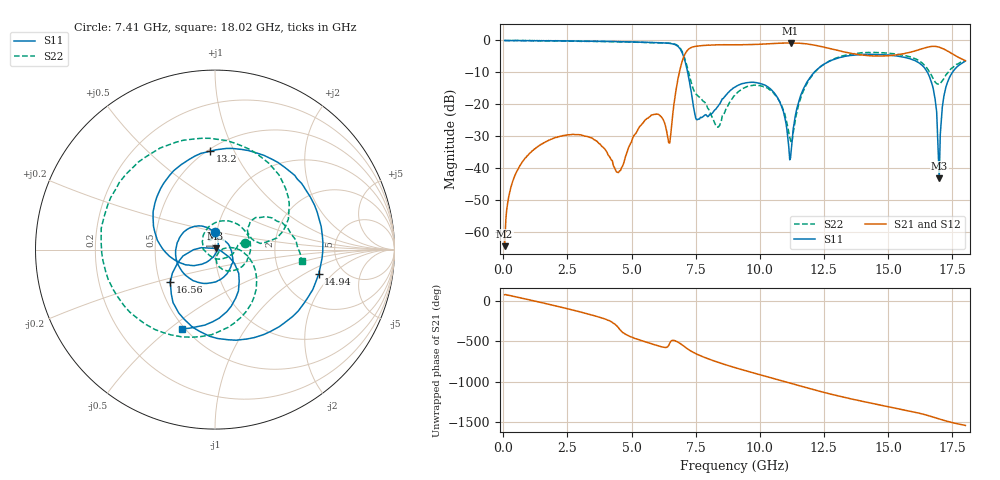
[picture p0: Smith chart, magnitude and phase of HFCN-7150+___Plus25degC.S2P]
! Mini-Circuits
! S2P DATA File Format
! Type: High Pass LTCC Surface Mount Filter
! Model: HFCN-7150+
! Note: All S Parameters are in dB deg format
! TEST CONDITIONS: INPUT POWER = 0dBm @Temperature = +25degC
! 401 Frequency points
# MHz S DB R 50
!  FREQ  dB(S11)  PHS(S11)  dB(S21)  PHS(S21)  dB(S12)  PHS(S12)  dB(S22)  PHS(S22)
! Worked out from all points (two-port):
!   401 points, 50 MHz to 18.02 GHz, reference 50 ohm
!   highest |S21| = -0.78 dB at 11.2 GHz (marker M1); lowest = -64.3 dB at 50 MHz (marker M2)
!   |S21| within 3 dB of the highest: 7.119 GHz to 13.42 GHz (6.298 GHz wide, 61.3 % of centre); 15.81 GHz to 17.43 GHz (1.613 GHz wide, 9.7 % of centre)
!   lowest |S11| = -43.1 dB at 17 GHz (marker M3), VSWR 1.01, Z = 50.3 + j0.645 ohm
!   |S11| at or under -10 dB: 7.19 GHz to 12.12 GHz (4.926 GHz wide, 51 % of centre); 16.54 GHz to 17.51 GHz (970.2 MHz wide, 5.7 % of centre)
!   |S22| runs from -32.0 to 0.0 dB; largest |S21 - S12| = 0.017
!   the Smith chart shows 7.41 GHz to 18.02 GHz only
!   S11 on the Smith chart (normalised r, x): 7.41 GHz: 0.98, +0.19; 13.2 GHz: 0.52, +0.81; 14.94 GHz: 3.28, -1.38; 16.56 GHz: 0.57, -0.23; 18.02 GHz: 0.48, -0.55
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50  -0.01 -3.0  -64.28 82.1  -60.82 88.8  -0.03 -3.8
410  -0.06 -25.8  -43.06 60.9  -43.06 61.1  -0.05 -31.6
1330  -0.10 -84.9  -33.25 -4.8  -33.21 -4.5  -0.05 -103.5
2210  -0.10 -142.7  -29.94 -69.8  -30.05 -70.3  -0.22 -174.3
3050  -0.20 160.2  -29.56 -136.8  -29.62 -137.0  -0.29 115.4
4410  -0.34 64.2  -41.03 59.1  -41.03 59.4  -0.39 -4.6
5250  -0.51 0.5  -27.83 -113.6  -27.82 -113.1  -0.57 -84.2
6050  -0.69 -69.3  -23.08 164.1  -23.11 164.8  -0.75 -166.8
6490  -0.92 -119.0  -32.02 -161.4  -32.00 -160.9  -0.88 139.5
6770  -1.63 -163.1  -13.81 -141.3  -13.81 -140.9  -1.45 95.9
7410  -20.38 90.6  -1.98 83.8  -2.00 83.8  -15.23 11.6
8090  -23.24 54.6  -1.44 -8.2  -1.48 -8.2  -23.00 -42.4
9070  -14.41 -100.5  -1.34 -109.4  -1.35 -109.5  -16.78 93.0
10050  -13.57 165.6  -1.16 161.8  -1.18 161.9  -14.24 -6.6
11200  -36.70 -38.7  -0.78 59.8  -0.83 59.7  -31.29 -49.6
12040  -10.72 179.4  -1.31 -15.2  -1.33 -15.8  -10.97 -34.8
13200  -5.22 92.9  -3.41 -109.1  -3.31 -109.7  -4.90 -133.2
14940  -4.54 -13.3  -4.78 132.5  -4.86 133.5  -3.92 110.2
15080  -4.60 -22.2  -4.72 123.3  -4.79 124.2  -4.04 101.3
16560  -10.22 -144.1  -2.07 17.7  -2.23 17.9  -9.09 10.7
17000  -43.10 66.4  -2.11 -25.7  -2.17 -26.0  -13.74 27.1
18020  -6.41 -112.8  -6.32 -106.2  -6.23 -106.6  -6.27 -7.2
